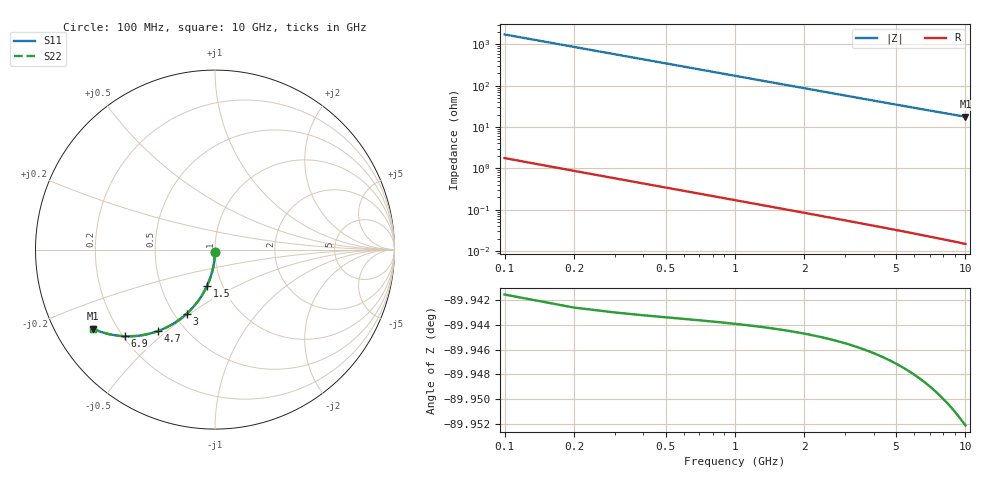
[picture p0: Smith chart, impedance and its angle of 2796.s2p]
# Hz S RI R 50.00
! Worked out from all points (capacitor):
!   100 points, 100 MHz to 10 GHz, reference 50 ohm
!   read as one part in shunt: C = 918 fF near 100 MHz
!   lowest |Z| = 17.7 ohm at 10 GHz (marker M1)
!   S11 on the Smith chart (normalised r, x): 100 MHz: 1.00, -0.03; 1.5 GHz: 0.84, -0.36; 3 GHz: 0.58, -0.49; 4.7 GHz: 0.36, -0.47; 6.9 GHz: 0.21, -0.39; 10 GHz: 0.11, -0.29
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1e8  -0.00011 -0.0142  0.9997 -0.0147  0.9997 -0.0147  -0.00011 -0.0142
2e8  -0.000747 -0.0283  0.999 -0.0293  0.999 -0.0293  -0.000747 -0.0283
3e8  -0.0018 -0.0424  0.998 -0.0439  0.998 -0.0439  -0.0018 -0.0424
4e8  -0.00326 -0.0565  0.9965 -0.0584  0.9965 -0.0584  -0.00326 -0.0565
5e8  -0.00513 -0.0705  0.9946 -0.0729  0.9946 -0.0729  -0.00513 -0.0705
6e8  -0.0074 -0.0844  0.9924 -0.0873  0.9924 -0.0873  -0.0074 -0.0844
7e8  -0.0101 -0.0982  0.9897 -0.1016  0.9897 -0.1016  -0.0101 -0.0982
9e8  -0.0166 -0.1254  0.9832 -0.1298  0.9832 -0.1298  -0.0166 -0.1254
1.2e9  -0.0291 -0.1651  0.9706 -0.1709  0.9706 -0.1709  -0.0291 -0.1651
1.5e9  -0.0448 -0.203  0.955 -0.2102  0.955 -0.2102  -0.0448 -0.203
1.8e9  -0.0632 -0.2388  0.9365 -0.2475  0.9365 -0.2475  -0.0632 -0.2388
2.4e9  -0.1072 -0.3033  0.8925 -0.3148  0.8925 -0.3148  -0.1072 -0.3033
3e9  -0.158 -0.3572  0.8416 -0.3717  0.8416 -0.3717  -0.158 -0.3572
3.4e9  -0.1943 -0.3871  0.8053 -0.4035  0.8053 -0.4035  -0.1943 -0.3871
4e9  -0.2505 -0.4232  0.7491 -0.4426  0.7491 -0.4426  -0.2505 -0.4232
4.7e9  -0.316 -0.4531  0.6835 -0.4759  0.6835 -0.4759  -0.316 -0.4531
5.1e9  -0.3525 -0.465  0.647 -0.4897  0.647 -0.4897  -0.3525 -0.465
5.9e9  -0.4219 -0.4791  0.5774 -0.5077  0.5774 -0.5077  -0.4219 -0.4791
6.7e9  -0.4854 -0.483  0.5138 -0.5156  0.5138 -0.5156  -0.4854 -0.483
6.9e9  -0.5003 -0.4827  0.4989 -0.5163  0.4989 -0.5163  -0.5003 -0.4827
8.4e9  -0.5985 -0.469  0.4004 -0.5101  0.4004 -0.5101  -0.5985 -0.469
1e10  -0.68 -0.441  0.3185 -0.4902  0.3185 -0.4902  -0.68 -0.441
